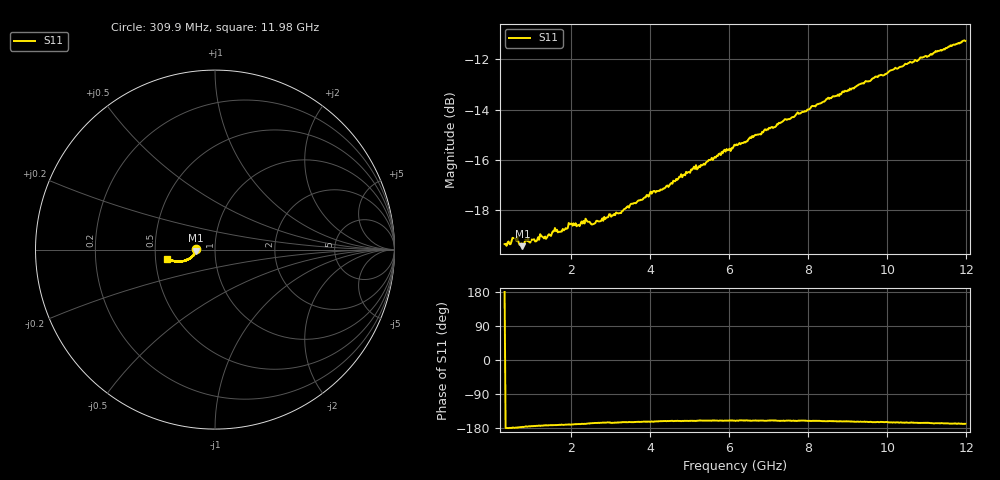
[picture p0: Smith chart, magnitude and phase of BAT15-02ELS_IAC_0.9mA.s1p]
! Infineon Technologies  Discrete & RF Semiconductors
! BAT15-02ELS
! IAC = 0.9 mA
! One-Port S-Parameters
# Hz  S  MA  R  50
!f  S11
!Hz  Mag  Ang
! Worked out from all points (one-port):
!   468 points, 309.9 MHz to 11.98 GHz, reference 50 ohm
!   lowest |S11| = -19.4 dB at 759.6 MHz (marker M1), VSWR 1.24, Z = 40.4 - j0.531 ohm
!   |S11| at or under -10 dB: start of sweep to end of sweep
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3.0985e8  0.1079 179.5
5.847125e8  0.1105 -178.4
7.59625e8  0.1069 -176.5
8.59575e8  0.1099 -175.1
1.134438e9  0.1099 -173.8
1.2094e9  0.1129 -174.1
1.359325e9  0.1105 -172.2
1.584212e9  0.1161 -172.0
1.70915e9  0.1141 -171.0
1.784112e9  0.1156 -171.2
1.984012e9  0.1184 -170.8
2.183912e9  0.1178 -169.0
2.4088e9  0.1195 -167.5
2.558725e9  0.1182 -166.6
2.933538e9  0.1221 -164.6
3.233388e9  0.1244 -164.8
3.533238e9  0.1298 -163.8
4.057975e9  0.1369 -162.5
4.332838e9  0.1392 -161.2
4.70765e9  0.1455 -160.8
6.156925e9  0.1695 -160.6
6.4068e9  0.1717 -159.8
6.531738e9  0.1759 -160.1
7.6062e9  0.1929 -160.3
8.50575e9  0.2108 -161.5
9.080462e9  0.2187 -162.1
1.052974e10  0.2468 -165.5
1.197901e10  0.2733 -168.4
